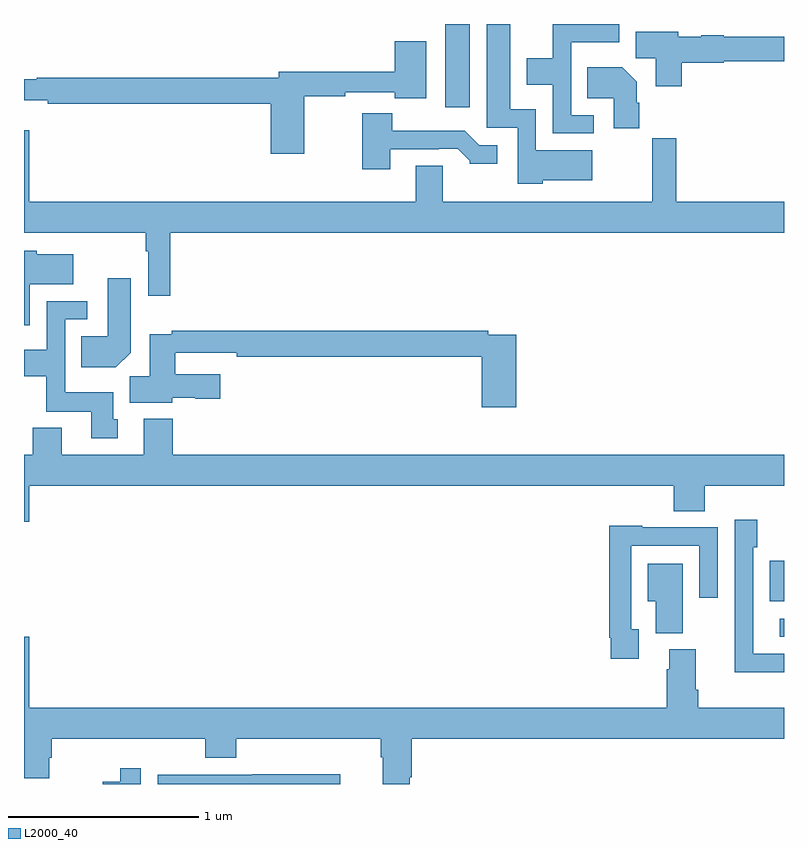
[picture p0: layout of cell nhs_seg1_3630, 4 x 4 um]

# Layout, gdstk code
import gdstk
lib = gdstk.Library(unit=1e-6, precision=1e-09)
def R(c, l, rs):  # rectangles x0, y0, x1, y1
    for r in rs: c.add(gdstk.rectangle(r[:2], r[2:], *l))
def P(c, l, *ps):  # polygons
    for p in ps: c.add(gdstk.Polygon(p, *l))
L2000_40 = (2000, 40)

nhs_seg1_3630 = lib.new_cell('nhs_seg1_3630')
R(nhs_seg1_3630, L2000_40, [(312.978,514.974,313,515.07), (312.926,515.162,313,515.373), (311.216,517.761,311.347,518.199)])
P(nhs_seg1_3630, L2000_40, [(311.73,517.376),(311.992,517.376),(311.992,517.534),(311.694,517.534),(311.694,517.75),(311.56,517.75),(311.56,518.199),(311.435,518.199),(311.435,517.653),(311.598,517.653),(311.598,517.358),(311.73,517.358)],
  [(311.998,517.719),(311.88,517.719),(311.88,518.102),(312.133,518.102),(312.133,518.199),(311.782,518.199),(311.782,518.02),(311.645,518.02),(311.645,517.88),(311.784,517.88),(311.784,517.623),(311.998,517.623)],
  [(312.461,517.994),(312.684,517.994),(312.684,518.002),(313,518.002),(313,518.131),(312.684,518.131),(312.684,518.139),(312.564,518.139),(312.564,518.131),(312.444,518.131),(312.444,518.158),(312.221,518.158),(312.221,518.02),(312.326,518.02),(312.326,517.871),(312.461,517.871)],
  [(310.476,517.819),(310.691,517.819),(310.691,517.839),(310.952,517.839),(310.952,517.808),(311.116,517.808),(311.116,518.107),(310.952,518.107),(310.952,517.948),(310.34,517.948),(310.34,517.916),(309.068,517.916),(309.068,517.909),(309,517.909),(309,517.799),(309.124,517.799),(309.124,517.78),(310.298,517.78),(310.298,517.515),(310.476,517.515)],
  [(312.239,517.784),(312.226,517.784),(312.226,517.894),(312.148,517.972),(311.965,517.972),(311.965,517.808),(312.104,517.808),(312.104,517.65),(312.239,517.65)],
  [(310.927,517.539),(311.183,517.539),(311.183,517.542),(311.282,517.542),(311.346,517.478),(311.346,517.463),(311.491,517.463),(311.491,517.56),(311.397,517.56),(311.321,517.636),(310.939,517.636),(310.939,517.729),(310.78,517.729),(310.78,517.434),(310.927,517.434)],
  [(309.77,517.1),(313,517.1),(313,517.264),(312.434,517.264),(312.434,517.597),(312.306,517.597),(312.306,517.264),(311.203,517.264),(311.203,517.454),(311.063,517.454),(311.063,517.264),(309.028,517.264),(309.028,517.639),(309,517.639),(309,517.1),(309.642,517.1),(309.642,517.004),(309.654,517.004),(309.654,516.768),(309.77,516.768)],
  [(309.03,516.83),(309.259,516.83),(309.259,516.988),(309.066,516.988),(309.066,517.006),(309,517.006),(309,516.614),(309.03,516.614)],
  [(309.562,516.47),(309.562,516.862),(309.44,516.862),(309.44,516.556),(309.301,516.556),(309.301,516.392),(309.484,516.392)],
  [(309.493,516.12),(309.469,516.12),(309.469,516.262),(309.216,516.262),(309.216,516.645),(309.334,516.645),(309.334,516.741),(309.12,516.741),(309.12,516.484),(309,516.484),(309,516.344),(309.118,516.344),(309.118,516.158),(309.353,516.158),(309.353,516.018),(309.493,516.018)],
  [(311.591,516.564),(311.444,516.564),(311.444,516.584),(309.778,516.584),(309.778,516.566),(309.662,516.566),(309.662,516.344),(309.557,516.344),(309.557,516.206),(309.78,516.206),(309.78,516.233),(309.9,516.233),(309.9,516.226),(310.033,516.226),(310.033,516.355),(309.797,516.355),(309.797,516.468),(310.12,516.468),(310.12,516.448),(311.408,516.448),(311.408,516.183),(311.591,516.183)],
  [(309.028,515.768),(312.419,515.768),(312.419,515.635),(312.584,515.635),(312.584,515.768),(313,515.768),(313,515.932),(309.782,515.932),(309.782,516.121),(309.629,516.121),(309.629,515.932),(309.199,515.932),(309.199,516.073),(309.047,516.073),(309.047,515.932),(309,515.932),(309,515.58),(309.028,515.58)],
  [(313,514.884),(312.837,514.884),(312.837,515.445),(312.859,515.445),(312.859,515.59),(312.741,515.59),(312.741,515.09),(312.74,515.09),(312.74,514.787),(313,514.787)],
  [(312.235,515.013),(312.195,515.013),(312.195,515.454),(312.555,515.454),(312.555,515.178),(312.651,515.178),(312.651,515.55),(312.255,515.55),(312.255,515.557),(312.079,515.557),(312.079,514.969),(312.087,514.969),(312.087,514.857),(312.235,514.857)],
  [(312.466,515.359),(312.284,515.359),(312.284,515.162),(312.326,515.162),(312.326,514.993),(312.466,514.993)],
  [(311.029,514.234),(311.042,514.234),(311.042,514.436),(313,514.436),(313,514.6),(312.548,514.6),(312.548,514.696),(312.535,514.696),(312.535,514.908),(312.395,514.908),(312.395,514.802),(312.383,514.802),(312.383,514.6),(309.028,514.6),(309.028,514.975),(309,514.975),(309,514.228),(309.133,514.228),(309.133,514.338),(309.146,514.338),(309.146,514.436),(309.953,514.436),(309.953,514.337),(310.118,514.337),(310.118,514.436),(310.877,514.436),(310.877,514.34),(310.889,514.34),(310.889,514.199),(311.029,514.199)],
  [(309.615,514.282),(309.507,514.282),(309.507,514.212),(309.414,514.212),(309.414,514.199),(309.615,514.199)],
  [(310.665,514.25),(310.201,514.25),(310.201,514.248),(309.705,514.248),(309.705,514.199),(310.665,514.199)])

lib.write_gds('nhs_seg1_3630.gds')
